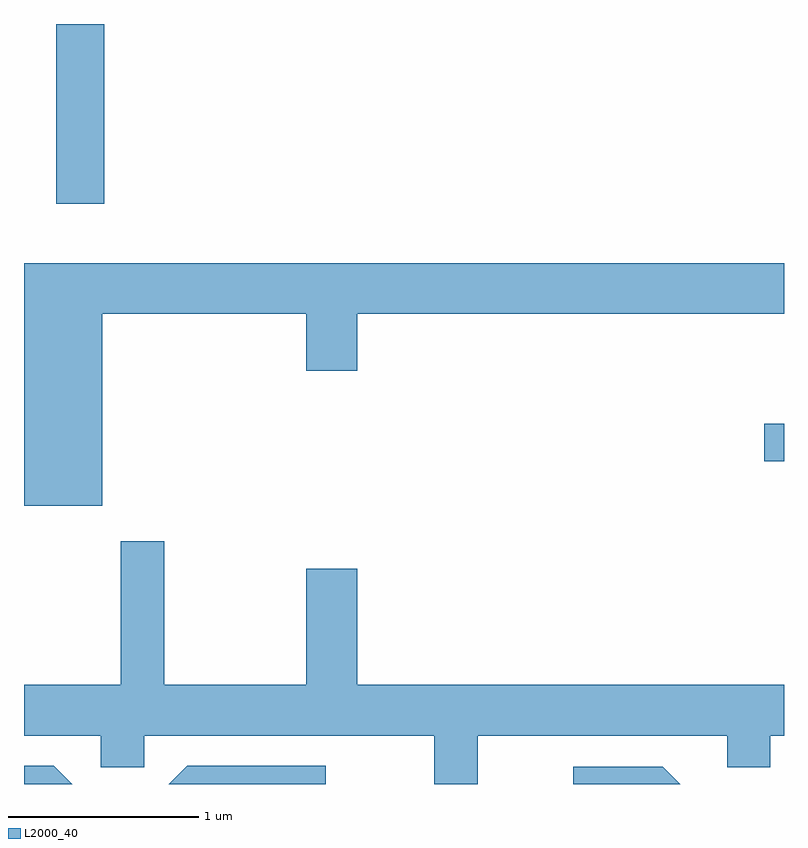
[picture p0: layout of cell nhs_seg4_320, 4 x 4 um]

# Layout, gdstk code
import gdstk
lib = gdstk.Library(unit=1e-6, precision=1e-09)
def R(c, l, rs):  # rectangles x0, y0, x1, y1
    for r in rs: c.add(gdstk.rectangle(r[:2], r[2:], *l))
def P(c, l, *ps):  # polygons
    for p in ps: c.add(gdstk.Polygon(p, *l))
L2000_40 = (2000, 40)

nhs_seg4_320 = lib.new_cell('nhs_seg4_320')
R(nhs_seg4_320, L2000_40, [(197.506,1351.681,197.611,1351.879), (193.781,1353.036,194.034,1353.982)])
P(nhs_seg4_320, L2000_40, [(194.024,1352.456),(195.096,1352.456),(195.096,1352.156),(195.364,1352.156),(195.364,1352.456),(197.611,1352.456),(197.611,1352.724),(193.611,1352.724),(193.611,1351.446),(194.024,1351.446)],
  [(195.999,1350.236),(197.311,1350.236),(197.311,1350.071),(197.539,1350.071),(197.539,1350.236),(197.611,1350.236),(197.611,1350.504),(195.364,1350.504),(195.364,1351.114),(195.096,1351.114),(195.096,1350.504),(194.349,1350.504),(194.349,1351.259),(194.121,1351.259),(194.121,1350.504),(193.611,1350.504),(193.611,1350.236),(194.016,1350.236),(194.016,1350.071),(194.244,1350.071),(194.244,1350.236),(195.771,1350.236),(195.771,1349.982),(195.999,1349.982)],
  [(195.199,1350.079),(194.469,1350.079),(194.372,1349.982),(195.199,1349.982)],
  [(193.767,1350.079),(193.611,1350.079),(193.611,1349.982),(193.864,1349.982)],
  [(196.972,1350.074),(196.503,1350.074),(196.503,1349.982),(197.064,1349.982)])

lib.write_gds('nhs_seg4_320.gds')
